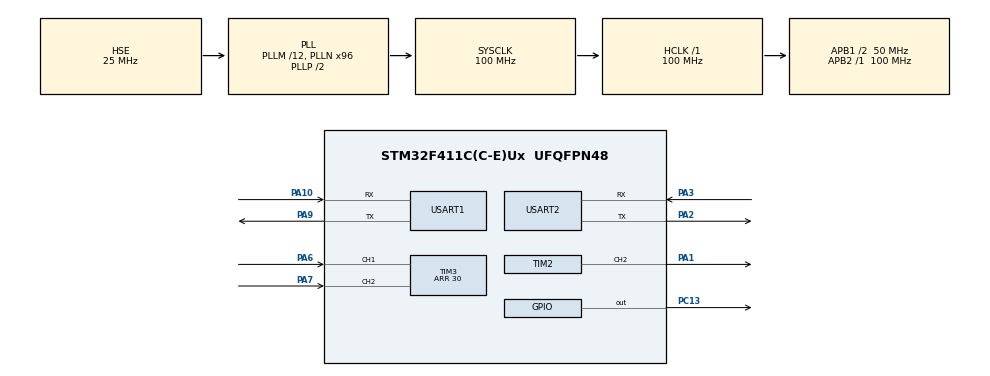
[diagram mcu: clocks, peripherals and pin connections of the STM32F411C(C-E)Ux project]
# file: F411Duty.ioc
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Mcu.Family=STM32F4
Mcu.Name=STM32F411C(C-E)Ux
Mcu.Package=UFQFPN48
NVIC.PriorityGroup=NVIC_PRIORITYGROUP_4
NVIC.TIM1_TRG_COM_TIM11_IRQn=true\:15\:0\:false\:false\:true\:false\:true\:true
NVIC.TIM2_IRQn=true\:0\:0\:false\:false\:true\:true\:true\:true
NVIC.TimeBase=TIM1_TRG_COM_TIM11_IRQn
NVIC.TimeBaseIP=TIM11
NVIC.USART1_IRQn=true\:0\:0\:false\:false\:true\:true\:true\:true
NVIC.USART2_IRQn=true\:0\:0\:false\:false\:true\:true\:true\:true
PA1.Signal=S_TIM2_CH2
PA10.Mode=Asynchronous
PA10.Signal=USART1_RX
PA13.Mode=Serial_Wire
PA13.Signal=SYS_JTMS-SWDIO
PA14.Mode=Serial_Wire
PA14.Signal=SYS_JTCK-SWCLK
PA2.Mode=Asynchronous
PA2.Signal=USART2_TX
PA3.Mode=Asynchronous
PA3.Signal=USART2_RX
PA6.Signal=S_TIM3_CH1
PA7.Signal=S_TIM3_CH2
PA9.Mode=Asynchronous
PA9.Signal=USART1_TX
PC13-ANTI_TAMP.PinState=GPIO_PIN_SET
PC13-ANTI_TAMP.Signal=GPIO_Output
PH0\ -\ OSC_IN.Mode=HSE-External-Oscillator
PH0\ -\ OSC_IN.Signal=RCC_OSC_IN
PH1\ -\ OSC_OUT.Mode=HSE-External-Oscillator
PH1\ -\ OSC_OUT.Signal=RCC_OSC_OUT
ProjectManager.HeapSize=0x400
ProjectManager.StackSize=0x800
ProjectManager.TargetToolchain=STM32CubeIDE
RCC.48MHZClocksFreq_Value=50000000
RCC.AHBFreq_Value=100000000
RCC.APB1CLKDivider=RCC_HCLK_DIV2
RCC.APB1Freq_Value=50000000
RCC.APB1TimFreq_Value=100000000
RCC.APB2Freq_Value=100000000
RCC.APB2TimFreq_Value=100000000
RCC.CortexFreq_Value=100000000
RCC.HCLKFreq_Value=100000000
RCC.HSE_VALUE=25000000
RCC.HSI_VALUE=16000000
RCC.LSE_VALUE=32768
RCC.PLLM=12
RCC.PLLN=96
RCC.PLLSourceVirtual=RCC_PLLSOURCE_HSE
RCC.SYSCLKFreq_VALUE=100000000
RCC.SYSCLKSource=RCC_SYSCLKSOURCE_PLLCLK
RCC.VCOOutputFreq_Value=200000000
SH.S_TIM2_CH2.0=TIM2_CH2,PWM Generation2 CH2
SH.S_TIM3_CH1.0=TIM3_CH1,Encoder_Interface
SH.S_TIM3_CH2.0=TIM3_CH2,Encoder_Interface
TIM1.Period=1000
TIM1.Prescaler=49999
TIM2.AutoReloadPreload=TIM_AUTORELOAD_PRELOAD_ENABLE
TIM2.Channel-PWM\ Generation2\ CH2=TIM_CHANNEL_2
TIM2.Period=100000
TIM2.Pulse-PWM\ Generation2\ CH2=50000
TIM3.AutoReloadPreload=TIM_AUTORELOAD_PRELOAD_DISABLE
TIM3.IC1Filter=6
TIM3.IC2Filter=6
TIM3.Period=30
USART1.VirtualMode=VM_ASYNC
USART2.VirtualMode=VM_ASYNC
VP_SYS_VS_tim11.Mode=TIM11
VP_TIM1_VS_ClockSourceINT.Mode=Internal
VP_TIM2_VS_ClockSourceINT.Mode=Internal
board=custom

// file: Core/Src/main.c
/* USER CODE BEGIN Header */
/**
  ******************************************************************************
  * @file           : main.c
  * @brief          : Main program body
  ******************************************************************************
  * @attention
  *
  * Copyright (c) 2025 STMicroelectronics.
  * All rights reserved.
  *
  * This software is licensed under terms that can be found in the LICENSE file
  * in the root directory of this software component.
  * If no LICENSE file comes with this software, it is provided AS-IS.
  *
  ******************************************************************************
  */
/* USER CODE END Header */
#include "main.h"

/* USER CODE BEGIN Includes */
#include "sys_command_line.h"
/* USER CODE END Includes */

TIM_HandleTypeDef htim1;
TIM_HandleTypeDef htim2;
TIM_HandleTypeDef htim3;

UART_HandleTypeDef huart1;
UART_HandleTypeDef huart2;

/* USER CODE BEGIN PV */
/* Enc. vars */
uint8_t EncCounter = 0;
uint16_t DutyCycle = 0;
/* USER CODE END PV */

void SystemClock_Config(void);
static void MX_GPIO_Init(void);
static void MX_TIM1_Init(void);
static void MX_TIM2_Init(void);
static void MX_TIM3_Init(void);
static void MX_USART2_UART_Init(void);
static void MX_USART1_UART_Init(void);
/* USER CODE BEGIN PFP */
void init(void);
void loop(void);
/* USER CODE END PFP */

/* USER CODE BEGIN 0 */
void init()
{
	HAL_TIM_Base_Start_IT(&htim1);
	CLI_INIT(&huart1);
	/* Rotary (Incremental) encoder */
	HAL_TIM_Encoder_Start(&htim3, TIM_CHANNEL_ALL);
	HAL_TIM_PWM_Start_IT(&htim2, TIM_CHANNEL_2);

	return;
}

void loop()
{
//	EncCounter = TIM3->CNT;
//	if (EncCounter < 1023)
//	{
//		DutyCycle = ((TIM3->CNT)<<6);
//	}
////    TIM2->CCR1 = DutyCycle;
//    HAL_Delay(10);
    CLI_RUN();

	return;
}
/* USER CODE END 0 */

int main(void)
{

  /* MCU Configuration--------------------------------------------------------*/

  /* Reset of all peripherals, Initializes the Flash interface and the Systick. */
  HAL_Init();

  /* Configure the system clock */
  SystemClock_Config();

  /* Initialize all configured peripherals */
  MX_GPIO_Init();
  MX_TIM1_Init();
  MX_TIM2_Init();
  MX_TIM3_Init();
  MX_USART2_UART_Init();
  MX_USART1_UART_Init();
  /* USER CODE BEGIN 2 */
  init();
  /* USER CODE END 2 */

  /* Infinite loop */
  /* USER CODE BEGIN WHILE */
  while (1)
  {
	loop();
    /* USER CODE END WHILE */

  }
}

void SystemClock_Config(void)
{
  RCC_OscInitTypeDef RCC_OscInitStruct = {0};
  RCC_ClkInitTypeDef RCC_ClkInitStruct = {0};

  /** Configure the main internal regulator output voltage
  */
  __HAL_RCC_PWR_CLK_ENABLE();
  __HAL_PWR_VOLTAGESCALING_CONFIG(PWR_REGULATOR_VOLTAGE_SCALE1);

  /** Initializes the RCC Oscillators according to the specified parameters
  * in the RCC_OscInitTypeDef structure.
  */
  RCC_OscInitStruct.OscillatorType = RCC_OSCILLATORTYPE_HSE;
  RCC_OscInitStruct.HSEState = RCC_HSE_ON;
  RCC_OscInitStruct.PLL.PLLState = RCC_PLL_ON;
  RCC_OscInitStruct.PLL.PLLSource = RCC_PLLSOURCE_HSE;
  RCC_OscInitStruct.PLL.PLLM = 12;
  RCC_OscInitStruct.PLL.PLLN = 96;
  RCC_OscInitStruct.PLL.PLLP = RCC_PLLP_DIV2;
  RCC_OscInitStruct.PLL.PLLQ = 4;
  if (HAL_RCC_OscConfig(&RCC_OscInitStruct) != HAL_OK)
  {
    Error_Handler();
  }

  /** Initializes the CPU, AHB and APB buses clocks
  */
  RCC_ClkInitStruct.ClockType = RCC_CLOCKTYPE_HCLK|RCC_CLOCKTYPE_SYSCLK
                              |RCC_CLOCKTYPE_PCLK1|RCC_CLOCKTYPE_PCLK2;
  RCC_ClkInitStruct.SYSCLKSource = RCC_SYSCLKSOURCE_PLLCLK;
  RCC_ClkInitStruct.AHBCLKDivider = RCC_SYSCLK_DIV1;
  RCC_ClkInitStruct.APB1CLKDivider = RCC_HCLK_DIV2;
  RCC_ClkInitStruct.APB2CLKDivider = RCC_HCLK_DIV1;

  if (HAL_RCC_ClockConfig(&RCC_ClkInitStruct, FLASH_LATENCY_3) != HAL_OK)
  {
    Error_Handler();
  }
}

static void MX_TIM1_Init(void)
{

  TIM_ClockConfigTypeDef sClockSourceConfig = {0};
  TIM_MasterConfigTypeDef sMasterConfig = {0};

  htim1.Instance = TIM1;
  htim1.Init.Prescaler = 49999;
  htim1.Init.CounterMode = TIM_COUNTERMODE_UP;
  htim1.Init.Period = 1000;
  htim1.Init.ClockDivision = TIM_CLOCKDIVISION_DIV1;
  htim1.Init.RepetitionCounter = 0;
  htim1.Init.AutoReloadPreload = TIM_AUTORELOAD_PRELOAD_DISABLE;
  if (HAL_TIM_Base_Init(&htim1) != HAL_OK)
  {
    Error_Handler();
  }
  sClockSourceConfig.ClockSource = TIM_CLOCKSOURCE_INTERNAL;
  if (HAL_TIM_ConfigClockSource(&htim1, &sClockSourceConfig) != HAL_OK)
  {
    Error_Handler();
  }
  sMasterConfig.MasterOutputTrigger = TIM_TRGO_RESET;
  sMasterConfig.MasterSlaveMode = TIM_MASTERSLAVEMODE_DISABLE;
  if (HAL_TIMEx_MasterConfigSynchronization(&htim1, &sMasterConfig) != HAL_OK)
  {
    Error_Handler();
  }

}

static void MX_TIM2_Init(void)
{

  TIM_ClockConfigTypeDef sClockSourceConfig = {0};
  TIM_MasterConfigTypeDef sMasterConfig = {0};
  TIM_OC_InitTypeDef sConfigOC = {0};

  htim2.Instance = TIM2;
  htim2.Init.Prescaler = 0;
  htim2.Init.CounterMode = TIM_COUNTERMODE_UP;
  htim2.Init.Period = 100000;
  htim2.Init.ClockDivision = TIM_CLOCKDIVISION_DIV1;
  htim2.Init.AutoReloadPreload = TIM_AUTORELOAD_PRELOAD_ENABLE;
  if (HAL_TIM_Base_Init(&htim2) != HAL_OK)
  {
    Error_Handler();
  }
  sClockSourceConfig.ClockSource = TIM_CLOCKSOURCE_INTERNAL;
  if (HAL_TIM_ConfigClockSource(&htim2, &sClockSourceConfig) != HAL_OK)
  {
    Error_Handler();
  }
  if (HAL_TIM_PWM_Init(&htim2) != HAL_OK)
  {
    Error_Handler();
  }
  sMasterConfig.MasterOutputTrigger = TIM_TRGO_RESET;
  sMasterConfig.MasterSlaveMode = TIM_MASTERSLAVEMODE_DISABLE;
  if (HAL_TIMEx_MasterConfigSynchronization(&htim2, &sMasterConfig) != HAL_OK)
  {
    Error_Handler();
  }
  sConfigOC.OCMode = TIM_OCMODE_PWM1;
  sConfigOC.Pulse = 50000;
  sConfigOC.OCPolarity = TIM_OCPOLARITY_HIGH;
  sConfigOC.OCFastMode = TIM_OCFAST_DISABLE;
  if (HAL_TIM_PWM_ConfigChannel(&htim2, &sConfigOC, TIM_CHANNEL_2) != HAL_OK)
  {
    Error_Handler();
  }
  HAL_TIM_MspPostInit(&htim2);

}

static void MX_TIM3_Init(void)
{

  TIM_Encoder_InitTypeDef sConfig = {0};
  TIM_MasterConfigTypeDef sMasterConfig = {0};

  htim3.Instance = TIM3;
  htim3.Init.Prescaler = 0;
  htim3.Init.CounterMode = TIM_COUNTERMODE_UP;
  htim3.Init.Period = 30;
  htim3.Init.ClockDivision = TIM_CLOCKDIVISION_DIV1;
  htim3.Init.AutoReloadPreload = TIM_AUTORELOAD_PRELOAD_DISABLE;
  sConfig.EncoderMode = TIM_ENCODERMODE_TI1;
  sConfig.IC1Polarity = TIM_ICPOLARITY_RISING;
  sConfig.IC1Selection = TIM_ICSELECTION_DIRECTTI;
  sConfig.IC1Prescaler = TIM_ICPSC_DIV1;
  sConfig.IC1Filter = 6;
  sConfig.IC2Polarity = TIM_ICPOLARITY_RISING;
  sConfig.IC2Selection = TIM_ICSELECTION_DIRECTTI;
  sConfig.IC2Prescaler = TIM_ICPSC_DIV1;
  sConfig.IC2Filter = 6;
  if (HAL_TIM_Encoder_Init(&htim3, &sConfig) != HAL_OK)
  {
    Error_Handler();
  }
  sMasterConfig.MasterOutputTrigger = TIM_TRGO_RESET;
  sMasterConfig.MasterSlaveMode = TIM_MASTERSLAVEMODE_DISABLE;
  if (HAL_TIMEx_MasterConfigSynchronization(&htim3, &sMasterConfig) != HAL_OK)
  {
    Error_Handler();
  }

}

static void MX_USART1_UART_Init(void)
{

  huart1.Instance = USART1;
  huart1.Init.BaudRate = 115200;
  huart1.Init.WordLength = UART_WORDLENGTH_8B;
  huart1.Init.StopBits = UART_STOPBITS_1;
  huart1.Init.Parity = UART_PARITY_NONE;
  huart1.Init.Mode = UART_MODE_TX_RX;
  huart1.Init.HwFlowCtl = UART_HWCONTROL_NONE;
  huart1.Init.OverSampling = UART_OVERSAMPLING_16;
  if (HAL_UART_Init(&huart1) != HAL_OK)
  {
    Error_Handler();
  }

}

static void MX_USART2_UART_Init(void)
{

  huart2.Instance = USART2;
  huart2.Init.BaudRate = 115200;
  huart2.Init.WordLength = UART_WORDLENGTH_8B;
  huart2.Init.StopBits = UART_STOPBITS_1;
  huart2.Init.Parity = UART_PARITY_NONE;
  huart2.Init.Mode = UART_MODE_TX_RX;
  huart2.Init.HwFlowCtl = UART_HWCONTROL_NONE;
  huart2.Init.OverSampling = UART_OVERSAMPLING_16;
  if (HAL_UART_Init(&huart2) != HAL_OK)
  {
    Error_Handler();
  }

}

static void MX_GPIO_Init(void)
{
  GPIO_InitTypeDef GPIO_InitStruct = {0};

  /* GPIO Ports Clock Enable */
  __HAL_RCC_GPIOC_CLK_ENABLE();
  __HAL_RCC_GPIOH_CLK_ENABLE();
  __HAL_RCC_GPIOA_CLK_ENABLE();

  /*Configure GPIO pin Output Level */
  HAL_GPIO_WritePin(GPIOC, GPIO_PIN_13, GPIO_PIN_SET);

  /*Configure GPIO pin : PC13 */
  GPIO_InitStruct.Pin = GPIO_PIN_13;
  GPIO_InitStruct.Mode = GPIO_MODE_OUTPUT_PP;
  GPIO_InitStruct.Pull = GPIO_NOPULL;
  GPIO_InitStruct.Speed = GPIO_SPEED_FREQ_LOW;
  HAL_GPIO_Init(GPIOC, &GPIO_InitStruct);

}

/* USER CODE BEGIN 4 */
void HAL_TIM_PWM_PulseFinishedCallback(TIM_HandleTypeDef *htim)
{
	if (htim->Instance == TIM2)
	{
		HAL_GPIO_TogglePin(GPIOC, GPIO_PIN_13);
//		__NOP();
//		HAL_GPIO_TogglePin(GPIOC, GPIO_PIN_13);
    }
}
/* USER CODE END 4 */

void HAL_TIM_PeriodElapsedCallback(TIM_HandleTypeDef *htim)
{
  /* USER CODE BEGIN Callback 0 */
//	if (htim->Instance == TIM1) {
//		HAL_GPIO_TogglePin(GPIOC, GPIO_PIN_13);
//	}
  /* USER CODE END Callback 0 */
  if (htim->Instance == TIM11)
  {
    HAL_IncTick();
  }
}

void Error_Handler(void)
{
  __disable_irq();
  while (1)
  {
  }
}
